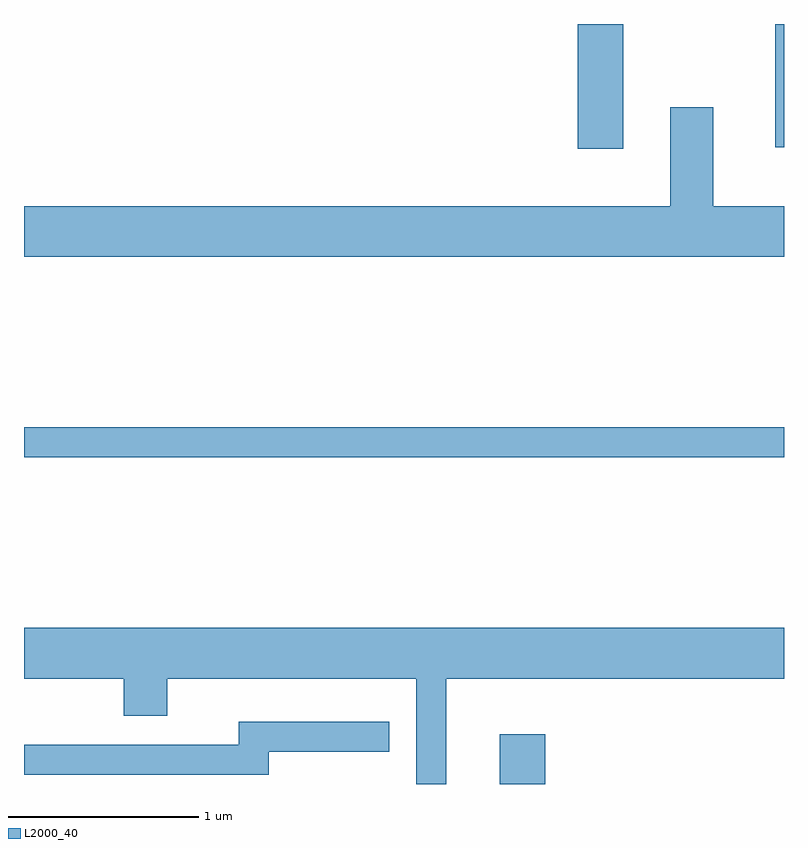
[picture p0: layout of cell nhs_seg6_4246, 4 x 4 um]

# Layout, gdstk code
import gdstk
lib = gdstk.Library(unit=1e-6, precision=1e-09)
def R(c, l, rs):  # rectangles x0, y0, x1, y1
    for r in rs: c.add(gdstk.rectangle(r[:2], r[2:], *l))
def P(c, l, *ps):  # polygons
    for p in ps: c.add(gdstk.Polygon(p, *l))
L2000_40 = (2000, 40)

nhs_seg6_4246 = lib.new_cell('nhs_seg6_4246')
R(nhs_seg6_4246, L2000_40, [(318.116,1536.162,318.354,1536.424), (315.611,1537.881,319.611,1538.039), (318.526,1539.506,318.764,1540.162), (319.566,1539.513,319.611,1540.162)])
P(nhs_seg6_4246, L2000_40, [(319.611,1539.204),(319.239,1539.204),(319.239,1539.724),(319.011,1539.724),(319.011,1539.204),(315.611,1539.204),(315.611,1538.936),(319.611,1538.936)],
  [(317.834,1536.716),(319.611,1536.716),(319.611,1536.984),(315.611,1536.984),(315.611,1536.716),(316.136,1536.716),(316.136,1536.521),(316.364,1536.521),(316.364,1536.716),(317.676,1536.716),(317.676,1536.162),(317.834,1536.162)],
  [(316.899,1536.331),(317.533,1536.331),(317.533,1536.489),(316.741,1536.489),(316.741,1536.369),(315.611,1536.369),(315.611,1536.211),(316.899,1536.211)])

lib.write_gds('nhs_seg6_4246.gds')
